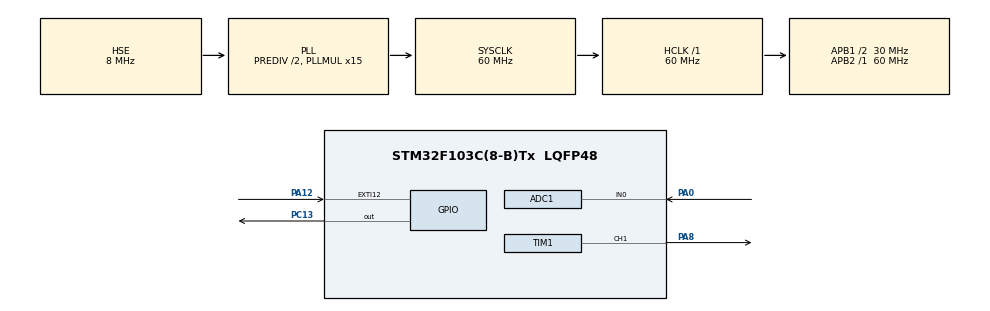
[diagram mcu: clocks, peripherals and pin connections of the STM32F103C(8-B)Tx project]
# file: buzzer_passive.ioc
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ADC1.Channel-1\#ChannelRegularConversion=ADC_CHANNEL_0
ADC1.NbrOfConversionFlag=1
ADC1.Rank-1\#ChannelRegularConversion=1
ADC1.SamplingTime-1\#ChannelRegularConversion=ADC_SAMPLETIME_239CYCLES_5
ADC1.master=1
Mcu.Family=STM32F1
Mcu.Name=STM32F103C(8-B)Tx
Mcu.Package=LQFP48
NVIC.ADC1_2_IRQn=true\:0\:0\:false\:false\:true\:true\:true\:true
NVIC.EXTI15_10_IRQn=true\:0\:0\:false\:false\:true\:true\:true\:true
NVIC.PriorityGroup=NVIC_PRIORITYGROUP_4
NVIC.TIM2_IRQn=true\:0\:0\:false\:false\:true\:true\:true\:true
PA0-WKUP.Signal=ADCx_IN0
PA12.GPIO_ModeDefaultEXTI=GPIO_MODE_IT_FALLING
PA12.GPIO_PuPd=GPIO_PULLUP
PA12.Signal=GPXTI12
PA13.Mode=Serial_Wire
PA13.Signal=SYS_JTMS-SWDIO
PA14.Mode=Serial_Wire
PA14.Signal=SYS_JTCK-SWCLK
PA8.Signal=S_TIM1_CH1
PC13-TAMPER-RTC.Signal=GPIO_Output
PD0-OSC_IN.Mode=HSE-External-Oscillator
PD0-OSC_IN.Signal=RCC_OSC_IN
PD1-OSC_OUT.Mode=HSE-External-Oscillator
PD1-OSC_OUT.Signal=RCC_OSC_OUT
ProjectManager.HeapSize=0x200
ProjectManager.StackSize=0x400
ProjectManager.TargetToolchain=STM32CubeIDE
RCC.ADCPresc=RCC_ADCPCLK2_DIV6
RCC.AHBFreq_Value=60000000
RCC.APB1CLKDivider=RCC_HCLK_DIV2
RCC.APB1Freq_Value=30000000
RCC.APB1TimFreq_Value=60000000
RCC.APB2Freq_Value=60000000
RCC.APB2TimFreq_Value=60000000
RCC.HCLKFreq_Value=60000000
RCC.HSEDivPLL=RCC_HSE_PREDIV_DIV2
RCC.PLLMUL=RCC_PLL_MUL15
RCC.PLLSourceVirtual=RCC_PLLSOURCE_HSE
RCC.SYSCLKFreq_VALUE=60000000
RCC.SYSCLKSource=RCC_SYSCLKSOURCE_PLLCLK
RCC.USBFreq_Value=60000000
SH.ADCx_IN0.0=ADC1_IN0,IN0
SH.S_TIM1_CH1.0=TIM1_CH1,PWM Generation1 CH1
TIM1.Channel-PWM\ Generation1\ CH1=TIM_CHANNEL_1
TIM1.Period=1000
TIM1.Prescaler=240-1
TIM1.Pulse-PWM\ Generation1\ CH1=500
TIM2.AutoReloadPreload=TIM_AUTORELOAD_PRELOAD_ENABLE
TIM2.Period=100 + 1
TIM2.Prescaler=30000  + 1
VP_TIM1_VS_ClockSourceINT.Mode=Internal
VP_TIM2_VS_ClockSourceINT.Mode=Internal
board=custom

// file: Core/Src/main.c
/* USER CODE BEGIN Header */
/**
  ******************************************************************************
  * @file           : main.c
  * @brief          : Main program body
  ******************************************************************************
  * @attention
  *
  * Copyright (c) 2025 STMicroelectronics.
  * All rights reserved.
  *
  * This software is licensed under terms that can be found in the LICENSE file
  * in the root directory of this software component.
  * If no LICENSE file comes with this software, it is provided AS-IS.
  *
  ******************************************************************************
  */
/* USER CODE END Header */
#include "main.h"

/* USER CODE BEGIN Includes */
#include "pitches.h"
/* USER CODE END Includes */

/* USER CODE BEGIN PM */
#define TIM_FREQ 60000000

/* USER CODE END PM */

ADC_HandleTypeDef hadc1;

TIM_HandleTypeDef htim1;
TIM_HandleTypeDef htim2;

void SystemClock_Config(void);
static void MX_GPIO_Init(void);
static void MX_TIM1_Init(void);
static void MX_ADC1_Init(void);
static void MX_TIM2_Init(void);

/* USER CODE BEGIN 0 */
char isMusicEnable = 1;
void noTone (void)
{
	__HAL_TIM_SET_PRESCALER(&htim1, 0);
}

int presForFrequency (int frequency)
{
	if (frequency == 0) return 0;
	return ((TIM_FREQ/(1000*frequency))-1);
}

void playTone (int *tone, int *duration, int size)
{
	for (int i = 0; i < size; ++i)
	{
		if (isMusicEnable == 0) return;
		int pres = presForFrequency(tone[i]);

		__HAL_TIM_SET_PRESCALER(&htim1, pres);
		HAL_Delay(duration[i]);
		noTone();
		HAL_Delay(150);
	}
}

int melody[] = {
  NOTE_B4, NOTE_B5, NOTE_FS5, NOTE_DS5,
  NOTE_B5, NOTE_FS5, NOTE_DS5, NOTE_C5,
  NOTE_C6, NOTE_G6, NOTE_E6, NOTE_C6, NOTE_G6, NOTE_E6,

  NOTE_B4, NOTE_B5, NOTE_FS5, NOTE_DS5, NOTE_B5,
  NOTE_FS5, NOTE_DS5, NOTE_DS5, NOTE_E5, NOTE_F5,
  NOTE_F5, NOTE_FS5, NOTE_G5, NOTE_G5, NOTE_GS5, NOTE_A5, NOTE_B5
};

int durations[] = {
  16, 16, 16, 16,
  32, 16, 8, 16,
  16, 16, 16, 32, 16, 8,

  16, 16, 16, 16, 32,
  16, 8, 32, 32, 32,
  32, 32, 32, 32, 32, 16, 8
};
/* USER CODE END 0 */

int main(void)
{

  /* MCU Configuration--------------------------------------------------------*/

  /* Reset of all peripherals, Initializes the Flash interface and the Systick. */
  HAL_Init();

  /* Configure the system clock */
  SystemClock_Config();

  /* Initialize all configured peripherals */
  MX_GPIO_Init();
  MX_TIM1_Init();
  MX_ADC1_Init();
  MX_TIM2_Init();
  /* USER CODE BEGIN 2 */
  HAL_TIM_PWM_Start(&htim1, TIM_CHANNEL_1);
  HAL_TIM_Base_Start_IT(&htim2);
  HAL_ADC_Start_IT(&hadc1);

  /* USER CODE END 2 */

  /* Infinite loop */
  while (1)
  {

    /* USER CODE BEGIN 3 */
	  if (isMusicEnable) {
		  playTone(melody, durations, (sizeof(melody)/sizeof(melody[0])));
	  }
	  noTone();
  }
  /* USER CODE END 3 */
}

void SystemClock_Config(void)
{
  RCC_OscInitTypeDef RCC_OscInitStruct = {0};
  RCC_ClkInitTypeDef RCC_ClkInitStruct = {0};
  RCC_PeriphCLKInitTypeDef PeriphClkInit = {0};

  /** Initializes the RCC Oscillators according to the specified parameters
  * in the RCC_OscInitTypeDef structure.
  */
  RCC_OscInitStruct.OscillatorType = RCC_OSCILLATORTYPE_HSE;
  RCC_OscInitStruct.HSEState = RCC_HSE_ON;
  RCC_OscInitStruct.HSEPredivValue = RCC_HSE_PREDIV_DIV2;
  RCC_OscInitStruct.HSIState = RCC_HSI_ON;
  RCC_OscInitStruct.PLL.PLLState = RCC_PLL_ON;
  RCC_OscInitStruct.PLL.PLLSource = RCC_PLLSOURCE_HSE;
  RCC_OscInitStruct.PLL.PLLMUL = RCC_PLL_MUL15;
  if (HAL_RCC_OscConfig(&RCC_OscInitStruct) != HAL_OK)
  {
    Error_Handler();
  }

  /** Initializes the CPU, AHB and APB buses clocks
  */
  RCC_ClkInitStruct.ClockType = RCC_CLOCKTYPE_HCLK|RCC_CLOCKTYPE_SYSCLK
                              |RCC_CLOCKTYPE_PCLK1|RCC_CLOCKTYPE_PCLK2;
  RCC_ClkInitStruct.SYSCLKSource = RCC_SYSCLKSOURCE_PLLCLK;
  RCC_ClkInitStruct.AHBCLKDivider = RCC_SYSCLK_DIV1;
  RCC_ClkInitStruct.APB1CLKDivider = RCC_HCLK_DIV2;
  RCC_ClkInitStruct.APB2CLKDivider = RCC_HCLK_DIV1;

  if (HAL_RCC_ClockConfig(&RCC_ClkInitStruct, FLASH_LATENCY_2) != HAL_OK)
  {
    Error_Handler();
  }
  PeriphClkInit.PeriphClockSelection = RCC_PERIPHCLK_ADC;
  PeriphClkInit.AdcClockSelection = RCC_ADCPCLK2_DIV6;
  if (HAL_RCCEx_PeriphCLKConfig(&PeriphClkInit) != HAL_OK)
  {
    Error_Handler();
  }
}

static void MX_ADC1_Init(void)
{

  ADC_ChannelConfTypeDef sConfig = {0};

  /** Common config
  */
  hadc1.Instance = ADC1;
  hadc1.Init.ScanConvMode = ADC_SCAN_DISABLE;
  hadc1.Init.ContinuousConvMode = DISABLE;
  hadc1.Init.DiscontinuousConvMode = DISABLE;
  hadc1.Init.ExternalTrigConv = ADC_SOFTWARE_START;
  hadc1.Init.DataAlign = ADC_DATAALIGN_RIGHT;
  hadc1.Init.NbrOfConversion = 1;
  if (HAL_ADC_Init(&hadc1) != HAL_OK)
  {
    Error_Handler();
  }

  /** Configure Regular Channel
  */
  sConfig.Channel = ADC_CHANNEL_0;
  sConfig.Rank = ADC_REGULAR_RANK_1;
  sConfig.SamplingTime = ADC_SAMPLETIME_239CYCLES_5;
  if (HAL_ADC_ConfigChannel(&hadc1, &sConfig) != HAL_OK)
  {
    Error_Handler();
  }

}

static void MX_TIM1_Init(void)
{

  TIM_ClockConfigTypeDef sClockSourceConfig = {0};
  TIM_MasterConfigTypeDef sMasterConfig = {0};
  TIM_OC_InitTypeDef sConfigOC = {0};
  TIM_BreakDeadTimeConfigTypeDef sBreakDeadTimeConfig = {0};

  htim1.Instance = TIM1;
  htim1.Init.Prescaler = 240-1;
  htim1.Init.CounterMode = TIM_COUNTERMODE_UP;
  htim1.Init.Period = 1000;
  htim1.Init.ClockDivision = TIM_CLOCKDIVISION_DIV1;
  htim1.Init.RepetitionCounter = 0;
  htim1.Init.AutoReloadPreload = TIM_AUTORELOAD_PRELOAD_DISABLE;
  if (HAL_TIM_Base_Init(&htim1) != HAL_OK)
  {
    Error_Handler();
  }
  sClockSourceConfig.ClockSource = TIM_CLOCKSOURCE_INTERNAL;
  if (HAL_TIM_ConfigClockSource(&htim1, &sClockSourceConfig) != HAL_OK)
  {
    Error_Handler();
  }
  if (HAL_TIM_PWM_Init(&htim1) != HAL_OK)
  {
    Error_Handler();
  }
  sMasterConfig.MasterOutputTrigger = TIM_TRGO_RESET;
  sMasterConfig.MasterSlaveMode = TIM_MASTERSLAVEMODE_DISABLE;
  if (HAL_TIMEx_MasterConfigSynchronization(&htim1, &sMasterConfig) != HAL_OK)
  {
    Error_Handler();
  }
  sConfigOC.OCMode = TIM_OCMODE_PWM1;
  sConfigOC.Pulse = 500;
  sConfigOC.OCPolarity = TIM_OCPOLARITY_HIGH;
  sConfigOC.OCNPolarity = TIM_OCNPOLARITY_HIGH;
  sConfigOC.OCFastMode = TIM_OCFAST_DISABLE;
  sConfigOC.OCIdleState = TIM_OCIDLESTATE_RESET;
  sConfigOC.OCNIdleState = TIM_OCNIDLESTATE_RESET;
  if (HAL_TIM_PWM_ConfigChannel(&htim1, &sConfigOC, TIM_CHANNEL_1) != HAL_OK)
  {
    Error_Handler();
  }
  sBreakDeadTimeConfig.OffStateRunMode = TIM_OSSR_DISABLE;
  sBreakDeadTimeConfig.OffStateIDLEMode = TIM_OSSI_DISABLE;
  sBreakDeadTimeConfig.LockLevel = TIM_LOCKLEVEL_OFF;
  sBreakDeadTimeConfig.DeadTime = 0;
  sBreakDeadTimeConfig.BreakState = TIM_BREAK_DISABLE;
  sBreakDeadTimeConfig.BreakPolarity = TIM_BREAKPOLARITY_HIGH;
  sBreakDeadTimeConfig.AutomaticOutput = TIM_AUTOMATICOUTPUT_DISABLE;
  if (HAL_TIMEx_ConfigBreakDeadTime(&htim1, &sBreakDeadTimeConfig) != HAL_OK)
  {
    Error_Handler();
  }
  HAL_TIM_MspPostInit(&htim1);

}

static void MX_TIM2_Init(void)
{

  TIM_ClockConfigTypeDef sClockSourceConfig = {0};
  TIM_MasterConfigTypeDef sMasterConfig = {0};

  htim2.Instance = TIM2;
  htim2.Init.Prescaler = 30000 + 1;
  htim2.Init.CounterMode = TIM_COUNTERMODE_UP;
  htim2.Init.Period = 100 + 1;
  htim2.Init.ClockDivision = TIM_CLOCKDIVISION_DIV1;
  htim2.Init.AutoReloadPreload = TIM_AUTORELOAD_PRELOAD_ENABLE;
  if (HAL_TIM_Base_Init(&htim2) != HAL_OK)
  {
    Error_Handler();
  }
  sClockSourceConfig.ClockSource = TIM_CLOCKSOURCE_INTERNAL;
  if (HAL_TIM_ConfigClockSource(&htim2, &sClockSourceConfig) != HAL_OK)
  {
    Error_Handler();
  }
  sMasterConfig.MasterOutputTrigger = TIM_TRGO_RESET;
  sMasterConfig.MasterSlaveMode = TIM_MASTERSLAVEMODE_DISABLE;
  if (HAL_TIMEx_MasterConfigSynchronization(&htim2, &sMasterConfig) != HAL_OK)
  {
    Error_Handler();
  }

}

static void MX_GPIO_Init(void)
{
  GPIO_InitTypeDef GPIO_InitStruct = {0};

  /* GPIO Ports Clock Enable */
  __HAL_RCC_GPIOC_CLK_ENABLE();
  __HAL_RCC_GPIOD_CLK_ENABLE();
  __HAL_RCC_GPIOA_CLK_ENABLE();

  /*Configure GPIO pin Output Level */
  HAL_GPIO_WritePin(GPIOC, GPIO_PIN_13, GPIO_PIN_RESET);

  /*Configure GPIO pin : PC13 */
  GPIO_InitStruct.Pin = GPIO_PIN_13;
  GPIO_InitStruct.Mode = GPIO_MODE_OUTPUT_PP;
  GPIO_InitStruct.Pull = GPIO_NOPULL;
  GPIO_InitStruct.Speed = GPIO_SPEED_FREQ_LOW;
  HAL_GPIO_Init(GPIOC, &GPIO_InitStruct);

  /*Configure GPIO pin : PA12 */
  GPIO_InitStruct.Pin = GPIO_PIN_12;
  GPIO_InitStruct.Mode = GPIO_MODE_IT_FALLING;
  GPIO_InitStruct.Pull = GPIO_PULLUP;
  HAL_GPIO_Init(GPIOA, &GPIO_InitStruct);

  /* EXTI interrupt init*/
  HAL_NVIC_SetPriority(EXTI15_10_IRQn, 0, 0);
  HAL_NVIC_EnableIRQ(EXTI15_10_IRQn);

}

void Error_Handler(void)
{
  __disable_irq();
  while (1)
  {
  }
}
